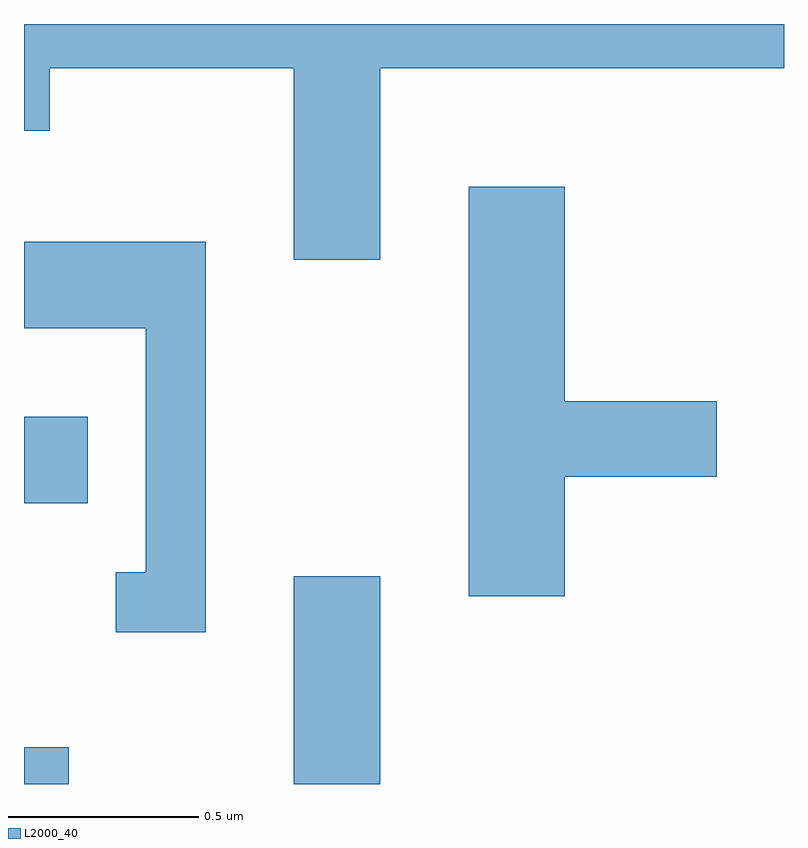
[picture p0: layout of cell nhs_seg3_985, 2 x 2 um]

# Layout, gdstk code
import gdstk
lib = gdstk.Library(unit=1e-6, precision=1e-09)
def R(c, l, rs):  # rectangles x0, y0, x1, y1
    for r in rs: c.add(gdstk.rectangle(r[:2], r[2:], *l))
def P(c, l, *ps):  # polygons
    for p in ps: c.add(gdstk.Polygon(p, *l))
L2000_40 = (2000, 40)

nhs_seg3_985 = lib.new_cell('nhs_seg3_985')
R(nhs_seg3_985, L2000_40, [(192.611,1141.892,192.729,1141.989), (193.321,1141.892,193.549,1142.439), (192.611,1142.631,192.779,1142.859)])
P(nhs_seg3_985, L2000_40, [(193.549,1143.776),(194.611,1143.776),(194.611,1143.892),(192.611,1143.892),(192.611,1143.611),(192.679,1143.611),(192.679,1143.776),(193.321,1143.776),(193.321,1143.271),(193.549,1143.271)],
  [(194.034,1142.701),(194.434,1142.701),(194.434,1142.899),(194.034,1142.899),(194.034,1143.464),(193.781,1143.464),(193.781,1142.386),(194.034,1142.386)],
  [(193.089,1143.319),(192.611,1143.319),(192.611,1143.091),(192.931,1143.091),(192.931,1142.449),(192.853,1142.449),(192.853,1142.291),(193.089,1142.291)])

lib.write_gds('nhs_seg3_985.gds')
